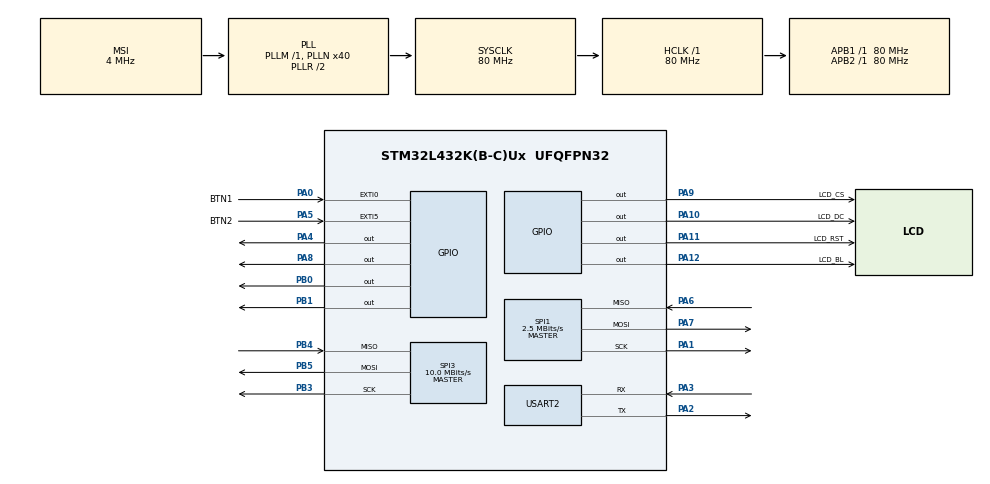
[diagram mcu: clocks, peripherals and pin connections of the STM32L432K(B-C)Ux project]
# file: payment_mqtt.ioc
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Mcu.Family=STM32L4
Mcu.Name=STM32L432K(B-C)Ux
Mcu.Package=UFQFPN32
NVIC.PriorityGroup=NVIC_PRIORITYGROUP_4
NVIC.USART2_IRQn=true\:0\:0\:false\:false\:true\:true\:true\:true
PA0.GPIO_Label=BTN1
PA0.GPIO_ModeDefaultEXTI=GPIO_MODE_IT_RISING
PA0.GPIO_PuPd=GPIO_PULLUP
PA0.Signal=GPXTI0
PA1.Mode=Full_Duplex_Master
PA1.Signal=SPI1_SCK
PA10.GPIO_Label=LCD_DC
PA10.Signal=GPIO_Output
PA11.GPIO_Label=LCD_RST
PA11.PinState=GPIO_PIN_SET
PA11.Signal=GPIO_Output
PA12.GPIO_Label=LCD_BL
PA12.Signal=GPIO_Output
PA13\ (JTMS-SWDIO).Mode=Serial_Wire
PA13\ (JTMS-SWDIO).Signal=SYS_JTMS-SWDIO
PA14\ (JTCK-SWCLK).Mode=Serial_Wire
PA14\ (JTCK-SWCLK).Signal=SYS_JTCK-SWCLK
PA2.Mode=Asynchronous
PA2.Signal=USART2_TX
PA3.Mode=Asynchronous
PA3.Signal=USART2_RX
PA4.PinState=GPIO_PIN_SET
PA4.Signal=GPIO_Output
PA5.GPIO_Label=BTN2
PA5.GPIO_ModeDefaultEXTI=GPIO_MODE_IT_RISING
PA5.GPIO_PuPd=GPIO_PULLUP
PA5.Signal=GPXTI5
PA6.Mode=Full_Duplex_Master
PA6.Signal=SPI1_MISO
PA7.Mode=Full_Duplex_Master
PA7.Signal=SPI1_MOSI
PA8.Signal=GPIO_Output
PA9.GPIO_Label=LCD_CS
PA9.PinState=GPIO_PIN_SET
PA9.Signal=GPIO_Output
PB0.PinState=GPIO_PIN_SET
PB0.Signal=GPIO_Output
PB1.PinState=GPIO_PIN_SET
PB1.Signal=GPIO_Output
PB3\ (JTDO-TRACESWO).Mode=Full_Duplex_Master
PB3\ (JTDO-TRACESWO).Signal=SPI3_SCK
PB4\ (NJTRST).Mode=Full_Duplex_Master
PB4\ (NJTRST).Signal=SPI3_MISO
PB5.Mode=Full_Duplex_Master
PB5.Signal=SPI3_MOSI
ProjectManager.HeapSize=0x200
ProjectManager.StackSize=0x400
ProjectManager.TargetToolchain=STM32CubeIDE
RCC.AHBFreq_Value=80000000
RCC.APB1Freq_Value=80000000
RCC.APB1TimFreq_Value=80000000
RCC.APB2Freq_Value=80000000
RCC.APB2TimFreq_Value=80000000
RCC.CortexFreq_Value=80000000
RCC.HCLKFreq_Value=80000000
RCC.HSE_VALUE=8000000
RCC.HSI48_VALUE=48000000
RCC.HSI_VALUE=16000000
RCC.LSE_VALUE=32768
RCC.MSI_VALUE=4000000
RCC.PLLN=40
RCC.SYSCLKFreq_VALUE=80000000
RCC.SYSCLKSource=RCC_SYSCLKSOURCE_PLLCLK
RCC.VCOOutputFreq_Value=160000000
SPI1.BaudRatePrescaler=SPI_BAUDRATEPRESCALER_32
SPI1.CalculateBaudRate=2.5 MBits/s
SPI1.DataSize=SPI_DATASIZE_8BIT
SPI1.Direction=SPI_DIRECTION_2LINES
SPI1.Mode=SPI_MODE_MASTER
SPI1.VirtualType=VM_MASTER
SPI3.BaudRatePrescaler=SPI_BAUDRATEPRESCALER_8
SPI3.CalculateBaudRate=10.0 MBits/s
SPI3.DataSize=SPI_DATASIZE_8BIT
SPI3.Direction=SPI_DIRECTION_2LINES
SPI3.Mode=SPI_MODE_MASTER
SPI3.VirtualType=VM_MASTER
USART2.VirtualMode-Asynchronous=VM_ASYNC
board=custom

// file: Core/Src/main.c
/* USER CODE BEGIN Header */
/**
  ******************************************************************************
  * @file           : main.c
  * @brief          : Main program body
  ******************************************************************************
  * @attention
  *
  * Copyright (c) 2026 STMicroelectronics.
  * All rights reserved.
  *
  * This software is licensed under terms that can be found in the LICENSE file
  * in the root directory of this software component.
  * If no LICENSE file comes with this software, it is provided AS-IS.
  *
  ******************************************************************************
  */
/* USER CODE END Header */
#include "main.h"
#include "spi.h"
#include "usart.h"
#include "gpio.h"

/* USER CODE BEGIN Includes */
#include <stdio.h>
#include <string.h>
#include "RC522.h"
#include "ili9341.h"
/* USER CODE END Includes */

/* USER CODE BEGIN PD */
#ifndef BTN1_Pin
#define BTN1_Pin        GPIO_PIN_0
#define BTN1_GPIO_Port  GPIOA
#endif
#ifndef BTN2_Pin
#define BTN2_Pin        GPIO_PIN_5
#define BTN2_GPIO_Port  GPIOA
#endif
/* USER CODE END PD */

/* USER CODE BEGIN PV */
uint8_t rx_byte;
char rx_buffer[100];
uint8_t rx_index = 0;
volatile uint8_t response_received = 0;

typedef enum { BTN_NONE = 0, BTN_NEXT, BTN_SELECT } btn_t;
volatile btn_t g_btn = BTN_NONE;
volatile uint32_t g_btn_tick = 0;
/* USER CODE END PV */

void SystemClock_Config(void);
/* USER CODE BEGIN PFP */
void HAL_UART_RxCpltCallback(UART_HandleTypeDef *huart);
void App_Init(void);
void App_Task(void);
/* USER CODE END PFP */

/* USER CODE BEGIN 0 */
int __io_putchar(int ch) {
    HAL_UART_Transmit(&huart2, (uint8_t *)&ch, 1, HAL_MAX_DELAY);
    return ch;
}
/* USER CODE END 0 */

int main(void)
{

  /* MCU Configuration--------------------------------------------------------*/

  /* Reset of all peripherals, Initializes the Flash interface and the Systick. */
  HAL_Init();

  /* Configure the system clock */
  SystemClock_Config();

  /* Initialize all configured peripherals */
  MX_GPIO_Init();
  MX_SPI1_Init();
  MX_USART2_UART_Init();
  MX_SPI3_Init();
  /* USER CODE BEGIN 2 */
  // 1. เริ่มต้นการทำงานของ RFID RC522
  /* USER CODE BEGIN 2 */
    MFRC522_Init();
    HAL_UART_Receive_IT(&huart2, &rx_byte, 1);

    printf("\r\n===================================\r\n");
    printf("   STM32 + RFID (CoolTerm Mode)\r\n");
    printf("===================================\r\n");

    // === เพิ่มส่วนเช็กการเชื่อมต่อ SPI ตรงนี้ ===
    uint8_t version = Read_MFRC522(0x37); // หรือ MFRC522_ReadRegister(VersionReg) ตามที่มีใน .h
    printf("[SPI TEST] RC522 Version Reg: 0x%02X\r\n", version);

    if (version == 0x91 || version == 0x92) {
      printf("[SPI TEST] RC522 Connected Successfully!\r\n");
    } else {
      printf("[SPI TEST ERROR] Cannot communicate with RC522 (Check Wiring/Pins!)\r\n");
    }

    printf("Waiting for RFID Card...\r\n\n");

    /* Buttons: force falling-edge EXTI + enable NVIC here, independent of the
       CubeMX GUI (which keeps resetting these to rising / NVIC-off on regen).
       PA0 -> EXTI0, PA5 -> EXTI9_5. */
    {
      GPIO_InitTypeDef bexti = {0};
      bexti.Pin  = BTN1_Pin | BTN2_Pin;
      bexti.Mode = GPIO_MODE_IT_FALLING;
      bexti.Pull = GPIO_PULLUP;
      HAL_GPIO_Init(GPIOA, &bexti);
      HAL_NVIC_SetPriority(EXTI0_IRQn, 5, 0);
      HAL_NVIC_EnableIRQ(EXTI0_IRQn);
      HAL_NVIC_SetPriority(EXTI9_5_IRQn, 5, 0);
      HAL_NVIC_EnableIRQ(EXTI9_5_IRQn);
    }
  /* USER CODE END 2 */

  /* Infinite loop */
  /* USER CODE BEGIN WHILE */
  App_Init();
  while (1)
  {
    App_Task();
    /* USER CODE END WHILE */

  }
}

void SystemClock_Config(void)
{
  RCC_OscInitTypeDef RCC_OscInitStruct = {0};
  RCC_ClkInitTypeDef RCC_ClkInitStruct = {0};

  /** Configure the main internal regulator output voltage
  */
  if (HAL_PWREx_ControlVoltageScaling(PWR_REGULATOR_VOLTAGE_SCALE1) != HAL_OK)
  {
    Error_Handler();
  }

  /** Initializes the RCC Oscillators according to the specified parameters
  * in the RCC_OscInitTypeDef structure.
  */
  RCC_OscInitStruct.OscillatorType = RCC_OSCILLATORTYPE_MSI;
  RCC_OscInitStruct.MSIState = RCC_MSI_ON;
  RCC_OscInitStruct.MSICalibrationValue = 0;
  RCC_OscInitStruct.MSIClockRange = RCC_MSIRANGE_6;
  RCC_OscInitStruct.PLL.PLLState = RCC_PLL_ON;
  RCC_OscInitStruct.PLL.PLLSource = RCC_PLLSOURCE_MSI;
  RCC_OscInitStruct.PLL.PLLM = 1;
  RCC_OscInitStruct.PLL.PLLN = 40;
  RCC_OscInitStruct.PLL.PLLP = RCC_PLLP_DIV7;
  RCC_OscInitStruct.PLL.PLLQ = RCC_PLLQ_DIV2;
  RCC_OscInitStruct.PLL.PLLR = RCC_PLLR_DIV2;
  if (HAL_RCC_OscConfig(&RCC_OscInitStruct) != HAL_OK)
  {
    Error_Handler();
  }

  /** Initializes the CPU, AHB and APB buses clocks
  */
  RCC_ClkInitStruct.ClockType = RCC_CLOCKTYPE_HCLK|RCC_CLOCKTYPE_SYSCLK
                              |RCC_CLOCKTYPE_PCLK1|RCC_CLOCKTYPE_PCLK2;
  RCC_ClkInitStruct.SYSCLKSource = RCC_SYSCLKSOURCE_PLLCLK;
  RCC_ClkInitStruct.AHBCLKDivider = RCC_SYSCLK_DIV1;
  RCC_ClkInitStruct.APB1CLKDivider = RCC_HCLK_DIV1;
  RCC_ClkInitStruct.APB2CLKDivider = RCC_HCLK_DIV1;

  if (HAL_RCC_ClockConfig(&RCC_ClkInitStruct, FLASH_LATENCY_4) != HAL_OK)
  {
    Error_Handler();
  }
}

/* USER CODE BEGIN 4 */
void HAL_UART_RxCpltCallback(UART_HandleTypeDef *huart)
{
  if (huart->Instance == USART2)
  {
    // เมื่อเจอขึ้นบรรทัดใหม่ (\n หรือ \r) แสดงว่าได้ข้อความตอบกลับครบถ้วน
    if (rx_byte == '\n' || rx_byte == '\r') {
      if (rx_index > 0) {
        rx_buffer[rx_index] = '\0';
        rx_index = 0;
        response_received = 1;
      }
    } else {
      if (rx_index < sizeof(rx_buffer) - 1) {
        rx_buffer[rx_index++] = rx_byte;
      }
    }

    // รับ Byte ถัดไป
    HAL_UART_Receive_IT(&huart2, &rx_byte, 1);
  }
}

/* ===================== Top-up station app ===================== */

static btn_t get_btn(void) {
  btn_t b = g_btn;
  g_btn = BTN_NONE;
  return b;
}

/* Button interrupts: BTN1 = NEXT (scroll), BTN2 = SELECT (OK). */
void HAL_GPIO_EXTI_Callback(uint16_t GPIO_Pin) {
  uint32_t now = HAL_GetTick();
  if (now - g_btn_tick < 200) return;            /* debounce */
  if (GPIO_Pin == BTN1_Pin)      { g_btn = BTN_NEXT;   g_btn_tick = now; }
  else if (GPIO_Pin == BTN2_Pin) { g_btn = BTN_SELECT; g_btn_tick = now; }
}

/* EXTI vectors live here (not in stm32l4xx_it.c) because the NVIC lines are not
   enabled in the .ioc. Do NOT enable EXTI line0 / line[9:5] in the CubeMX GUI,
   or the generated handlers in stm32l4xx_it.c will clash with these. */
void EXTI0_IRQHandler(void)   { HAL_GPIO_EXTI_IRQHandler(BTN1_Pin); }
void EXTI9_5_IRQHandler(void) { HAL_GPIO_EXTI_IRQHandler(BTN2_Pin); }

static const char *HOME_OPTS[4] = { "ADD MONEY", "NEW GUEST", "REMOVE CARD", "CHECK BALANCE" };

/* Repaint one menu row in place (no screen clear) -> no flicker on scroll. */
static void draw_menu_row(const char **opts, int i, int sel) {
  uint16_t y = 60 + i * 48;
  uint16_t bg = (i == sel) ? C_ORANGE : C_GRAY;
  LCD_FillRect(30, y, 260, 38, bg);
  LCD_DrawString(45, y + 9, opts[i], C_BLACK, bg, 3);
}

/* Full draw: clears the screen once on entering a menu. */
static void draw_menu(const char *title, const char **opts, int n, int sel) {
  LCD_FillScreen(C_BLACK);
  LCD_FillRect(0, 0, LCD_W, 40, C_DKBLUE);
  LCD_DrawStringCentered(14, title, C_WHITE, C_DKBLUE, 2);
  for (int i = 0; i < n; i++) draw_menu_row(opts, i, sel);
}

/* Move highlight from oldSel to newSel by repainting only those two rows. */
static void menu_move(const char **opts, int oldSel, int newSel) {
  draw_menu_row(opts, oldSel, newSel);
  draw_menu_row(opts, newSel, newSel);
}

static void screen_msg(const char *title, const char *msg, uint16_t color) {
  LCD_FillScreen(C_BLACK);
  LCD_FillRect(0, 0, LCD_W, 40, C_DKBLUE);
  LCD_DrawStringCentered(14, title, C_WHITE, C_DKBLUE, 2);
  LCD_DrawStringCentered(110, msg, color, C_BLACK, 2);
}

static int menu_select(const char *title, const char **opts, int n, int startSel) {
  int sel = startSel;
  draw_menu(title, opts, n, sel);
  while (1) {
    btn_t b = get_btn();
    if (b == BTN_NEXT)        { int old = sel; sel = (sel + 1) % n; menu_move(opts, old, sel); }
    else if (b == BTN_SELECT) { return sel; }
    HAL_Delay(20);
  }
}

static uint8_t read_card(char *uid_out) {
  uint8_t type[2], uid[5];
  if (MFRC522_Request(0x52, type) != MI_OK) return 0;   /* 0x52 = PICC_REQALL */
  if (MFRC522_Anticoll(uid) != MI_OK) return 0;
  sprintf(uid_out, "%02X%02X%02X%02X", uid[0], uid[1], uid[2], uid[3]);
  MFRC522_Halt();
  return 1;
}

/* Show "tap card" with a live countdown. Returns 1 if a card was read. */
static int wait_card(const char *title, char *uid, uint32_t timeout_ms) {
  LCD_FillScreen(C_BLACK);
  LCD_FillRect(0, 0, LCD_W, 40, C_DKBLUE);
  LCD_DrawStringCentered(14, title, C_WHITE, C_DKBLUE, 2);
  LCD_DrawStringCentered(80, "TAP YOUR CARD", C_WHITE, C_BLACK, 2);
  uint32_t end = HAL_GetTick() + timeout_ms;
  int last = -1;
  while ((int32_t)(end - HAL_GetTick()) > 0) {
    int32_t remain = (int32_t)(end - HAL_GetTick());
    int sec = (remain + 999) / 1000;              /* ceil => 10..1 */
    if (sec != last) {
      char b[8];
      sprintf(b, "%ds", sec);
      LCD_FillRect(0, 150, LCD_W, 32, C_BLACK);   /* clear previous number */
      LCD_DrawStringCentered(150, b, C_YELLOW, C_BLACK, 4);
      last = sec;
    }
    if (read_card(uid)) return 1;
    HAL_Delay(50);
  }
  return 0;
}

static void send_cmd(const char *action, const char *uid, int amount) {
  char line[64];
  if (amount >= 0) sprintf(line, "CMD %s %s %d\r\n", action, uid, amount);
  else             sprintf(line, "CMD %s %s\r\n", action, uid);
  HAL_UART_Transmit(&huart2, (uint8_t *)line, strlen(line), HAL_MAX_DELAY);
}

/* Wait for "RESP <topic> OK|ERR [extra]". 1=OK, 0=ERR, -1=timeout. */
static int wait_resp(const char *topic, char *extra, uint32_t timeout_ms) {
  uint32_t end = HAL_GetTick() + timeout_ms;
  if (extra) extra[0] = '\0';
  while ((int32_t)(end - HAL_GetTick()) > 0) {
    if (response_received) {
      char line[100];
      strncpy(line, rx_buffer, sizeof(line) - 1);
      line[sizeof(line) - 1] = '\0';
      response_received = 0;
      if (strncmp(line, "RESP ", 5) == 0) {
        char *t = line + 5;
        char *sp = strchr(t, ' ');
        if (sp) {
          *sp = '\0';
          char *rest = sp + 1;
          if (strcmp(t, topic) == 0) {
            char *sp2 = strchr(rest, ' ');
            if (sp2) { *sp2 = '\0'; if (extra) { strncpy(extra, sp2 + 1, 31); extra[31] = '\0'; } }
            return (strncmp(rest, "OK", 2) == 0) ? 1 : 0;
          }
        }
      }
      /* non-matching line (debug / stale response): ignore */
    }
    HAL_Delay(5);
  }
  return -1;
}

/* ---- Mode 1: add money ---- */
static void mode_add_money(void) {
  char uid[16], extra[32];
  if (!wait_card("ADD MONEY", uid, 10000)) {
    screen_msg("ADD MONEY", "No card", C_YELLOW); HAL_Delay(1500); return;
  }
  screen_msg("ADD MONEY", "Checking...", C_WHITE);
  send_cmd("check_role", uid, -1);
  int r = wait_resp("/check_role", extra, 6000);
  if (r != 1) { screen_msg("ADD MONEY", r == 0 ? "Not in system" : "No response", C_RED); HAL_Delay(2000); return; }

  const char *opts[4] = { "20", "50", "100", "CANCEL" };
  int sel = menu_select("SELECT AMOUNT", opts, 4, 0);
  if (sel == 3) return;
  int amt = (sel == 0) ? 20 : (sel == 1) ? 50 : 100;

  screen_msg("ADD MONEY", "Processing...", C_WHITE);
  send_cmd("add_money", uid, amt);
  r = wait_resp("/add_money", extra, 8000);
  if (r == 1) { char m[24]; sprintf(m, "+%d DONE", amt); screen_msg("SUCCESS", m, C_GREEN); }
  else        { screen_msg("FAILED", r == 0 ? "Top-up failed" : "No response", C_RED); }
  HAL_Delay(2500);
}

/* ---- Mode 2: register guest ---- */
static void mode_create_guest(void) {
  char uid[16], extra[32];
  if (!wait_card("NEW GUEST", uid, 10000)) {
    screen_msg("NEW GUEST", "No card", C_YELLOW); HAL_Delay(1500); return;
  }
  screen_msg("NEW GUEST", "Checking...", C_WHITE);
  send_cmd("check_role", uid, -1);
  int r = wait_resp("/check_role", extra, 6000);
  if (r == 1) { screen_msg("NEW GUEST", "Already exists", C_YELLOW); HAL_Delay(2000); return; }
  if (r < 0)  { screen_msg("NEW GUEST", "No response", C_RED); HAL_Delay(2000); return; }

  /* r == 0 (invalid card) => not registered => ok to create */
  screen_msg("NEW GUEST", "Registering...", C_WHITE);
  send_cmd("create_guest", uid, -1);
  r = wait_resp("/create_guest", extra, 8000);
  if (r == 1) screen_msg("SUCCESS", "Guest created", C_GREEN);
  else        screen_msg("FAILED", r == 0 ? "Create failed" : "No response", C_RED);
  HAL_Delay(2500);
}

/* ---- Mode 3: remove member card ---- */
static void mode_remove_card(void) {
  char uid[16], extra[32];
  if (!wait_card("REMOVE CARD", uid, 10000)) {
    screen_msg("REMOVE CARD", "No card", C_YELLOW); HAL_Delay(1500); return;
  }
  screen_msg("REMOVE CARD", "Checking...", C_WHITE);
  send_cmd("check_role", uid, -1);
  int r = wait_resp("/check_role", extra, 6000);
  if (r < 0)  { screen_msg("REMOVE CARD", "No response", C_RED); HAL_Delay(2000); return; }
  if (r == 0) { screen_msg("REMOVE CARD", "Not in system", C_RED); HAL_Delay(2000); return; }
  if (strcmp(extra, "guest") != 0) { screen_msg("REMOVE CARD", "Not a guest", C_YELLOW); HAL_Delay(2000); return; }

  const char *opts[2] = { "YES", "NO" };
  int sel = menu_select("DELETE CARD?", opts, 2, 1);   /* default NO */
  if (sel != 0) return;

  screen_msg("REMOVE CARD", "Removing...", C_WHITE);
  send_cmd("remove_card", uid, -1);
  r = wait_resp("/remove_card", extra, 8000);
  if (r == 1) screen_msg("SUCCESS", "Card removed", C_GREEN);
  else        screen_msg("FAILED", r == 0 ? "Remove failed" : "No response", C_RED);
  HAL_Delay(2500);
}

/* ---- Mode 4: check balance ---- */
static void mode_check_balance(void) {
  char uid[16], extra[32];
  if (!wait_card("CHECK BALANCE", uid, 10000)) {
    screen_msg("CHECK BALANCE", "No card", C_YELLOW); HAL_Delay(1500); return;
  }
  screen_msg("CHECK BALANCE", "Checking...", C_WHITE);
  send_cmd("check_balance", uid, -1);
  int r = wait_resp("/check_balance", extra, 6000);
  if (r == 1)      { char m[32]; sprintf(m, "%s COINS", extra); screen_msg("BALANCE", m, C_GREEN); }
  else if (r == 0) { screen_msg("CHECK BALANCE", "Not in system", C_RED); }
  else             { screen_msg("CHECK BALANCE", "No response", C_RED); }
  HAL_Delay(2500);
}

/* Boot self-test: ping the ESP32 and show whether the WiFi/MQTT chain is up. */
static void check_link(void) {
  char extra[32];
  screen_msg("TOP-UP STATION", "Checking link...", C_WHITE);
  send_cmd("ping", "", -1);
  int r = wait_resp("/ping", extra, 4000);
  if (r == 1)      screen_msg("LINK OK", "ESP32 + MQTT up", C_GREEN);
  else if (r == 0) screen_msg("LINK WARN", "Network down", C_YELLOW);
  else             screen_msg("NO ESP32", "Check UART/power", C_RED);
  HAL_Delay(1800);
}

void App_Init(void) {
  LCD_Init();
  check_link();
  draw_menu("TOP-UP STATION", HOME_OPTS, 4, 0);
}

void App_Task(void) {
  static int sel = 0;
  btn_t b = get_btn();
  if (b == BTN_NEXT) {
    int old = sel;
    sel = (sel + 1) % 4;
    menu_move(HOME_OPTS, old, sel);
  } else if (b == BTN_SELECT) {
    if (sel == 0)      mode_add_money();
    else if (sel == 1) mode_create_guest();
    else if (sel == 2) mode_remove_card();
    else               mode_check_balance();
    draw_menu("TOP-UP STATION", HOME_OPTS, 4, sel);
  }
  HAL_Delay(20);
}
/* USER CODE END 4 */

void Error_Handler(void)
{
  __disable_irq();
  while (1)
  {
  }
}
